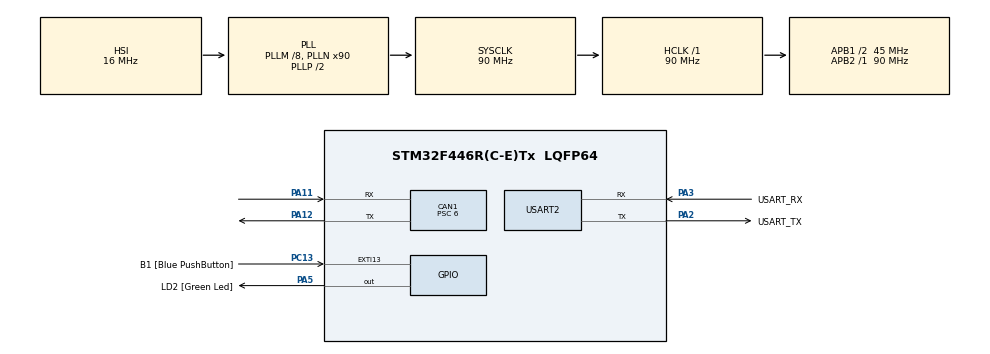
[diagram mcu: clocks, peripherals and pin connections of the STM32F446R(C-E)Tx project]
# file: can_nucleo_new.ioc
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CAN1.BS1=CAN_BS1_11TQ
CAN1.BS2=CAN_BS2_3TQ
CAN1.CalculateBaudRate=500000
CAN1.CalculateTimeBit=1999
CAN1.CalculateTimeQuantum=133.33333333333331
CAN1.Mode=CAN_MODE_NORMAL
CAN1.NART=ENABLE
CAN1.Prescaler=6
Mcu.Family=STM32F4
Mcu.Name=STM32F446R(C-E)Tx
Mcu.Package=LQFP64
NVIC.CAN1_RX0_IRQn=true\:0\:0\:false\:false\:true\:true\:true\:true
NVIC.CAN1_RX1_IRQn=true\:0\:0\:false\:false\:true\:true\:true\:true
NVIC.PriorityGroup=NVIC_PRIORITYGROUP_0
PA11.Mode=CAN_Activate
PA11.Signal=CAN1_RX
PA12.Mode=CAN_Activate
PA12.Signal=CAN1_TX
PA13.GPIO_Label=TMS
PA13.Mode=Serial_Wire
PA13.Signal=SYS_JTMS-SWDIO
PA14.GPIO_Label=TCK
PA14.Mode=Serial_Wire
PA14.Signal=SYS_JTCK-SWCLK
PA2.GPIO_Label=USART_TX
PA2.Mode=Asynchronous
PA2.Signal=USART2_TX
PA3.GPIO_Label=USART_RX
PA3.Mode=Asynchronous
PA3.Signal=USART2_RX
PA5.GPIO_Label=LD2 [Green Led]
PA5.Signal=GPIO_Output
PB3.GPIO_Label=SWO
PB3.Signal=SYS_JTDO-SWO
PC13.GPIO_Label=B1 [Blue PushButton]
PC13.GPIO_ModeDefaultEXTI=GPIO_MODE_IT_FALLING
PC13.Signal=GPXTI13
PC14-OSC32_IN.Mode=LSE-External-Oscillator
PC14-OSC32_IN.Signal=RCC_OSC32_IN
PC15-OSC32_OUT.Mode=LSE-External-Oscillator
PC15-OSC32_OUT.Signal=RCC_OSC32_OUT
PH0-OSC_IN.Mode=HSE-External-Oscillator
PH0-OSC_IN.Signal=RCC_OSC_IN
PH1-OSC_OUT.Mode=HSE-External-Oscillator
PH1-OSC_OUT.Signal=RCC_OSC_OUT
ProjectManager.HeapSize=0x200
ProjectManager.StackSize=0x400
ProjectManager.TargetToolchain=STM32CubeIDE
RCC.48MHZClocksFreq_Value=84000000
RCC.AHBFreq_Value=90000000
RCC.APB1CLKDivider=RCC_HCLK_DIV2
RCC.APB1Freq_Value=45000000
RCC.APB1TimFreq_Value=90000000
RCC.APB2Freq_Value=90000000
RCC.APB2TimFreq_Value=90000000
RCC.CortexFreq_Value=90000000
RCC.FLatency-AdvancedSettings=FLASH_LATENCY_2
RCC.HCLKFreq_Value=90000000
RCC.HSE_VALUE=8000000
RCC.HSI_VALUE=16000000
RCC.PLLM=8
RCC.PLLN=90
RCC.SYSCLKFreq_VALUE=90000000
RCC.SYSCLKSource=RCC_SYSCLKSOURCE_PLLCLK
RCC.USBFreq_Value=90000000
RCC.VCOOutputFreq_Value=180000000
USART2.VirtualMode=VM_ASYNC
board=NUCLEO-F446RE

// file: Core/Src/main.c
/* USER CODE BEGIN Header */
/**
  ******************************************************************************
  * @file           : main.c
  * @brief          : Main program body (Node C - CTRL)
  ******************************************************************************
  * @attention
  *
  * Copyright (c) 2025 STMicroelectronics.
  * All rights reserved.
  *
  * This software is licensed under terms that can be found in the LICENSE file
  * in the root directory of this software component.
  * If no LICENSE file comes with this software, it is provided AS-IS.
  *
  ******************************************************************************
  */
/* USER CODE END Header */
#include "main.h"

/* USER CODE BEGIN Includes */
#include <string.h>
#include <stdbool.h>

#define CMD_TOKEN 0x42   // спільний секретний токен для CMD
#define CMD_VER   0x01
/* USER CODE END Includes */

CAN_HandleTypeDef hcan1;

UART_HandleTypeDef huart2;

/* USER CODE BEGIN PV */
volatile uint8_t g_rx_flag = 0; // 0 = нічого, 1 = CMD (FIFO0), 2 = HB (FIFO1)

// Прапорці для відкладеного ACK
volatile uint8_t g_ack_pending = 0;
volatile uint8_t g_ack_cmd_id = 0;
volatile uint8_t g_ack_seq    = 0;
volatile uint8_t g_ack_result = 0;

CAN_TxHeaderTypeDef C_TxHeader;
CAN_RxHeaderTypeDef C_RxHeader;
uint8_t C_TxData[8];
uint8_t C_RxData[8];
/* USER CODE END PV */

void SystemClock_Config(void);
static void MX_GPIO_Init(void);
static void MX_USART2_UART_Init(void);
static void MX_CAN1_Init(void);
/* USER CODE BEGIN PFP */
static void CAN_ConfigFilters_NodeC(void);
static void C_Send_ACK(uint8_t cmd_id, uint8_t seq, uint8_t result);
uint8_t crc8(const uint8_t *data, uint8_t len);
/* USER CODE END PFP */

/* USER CODE BEGIN 0 */

// CRC8 для CmdID|Arg0|Arg1|Arg2|Token|Seq|Ver
uint8_t crc8(const uint8_t *data, uint8_t len)
{
    uint8_t crc = 0x00;
    const uint8_t poly = 0x07; // x^8 + x^2 + x + 1

    for (uint8_t i = 0; i < len; i++)
    {
        crc ^= data[i];
        for (uint8_t b = 0; b < 8; b++)
        {
            if (crc & 0x80)
                crc = (crc << 1) ^ poly;
            else
                crc <<= 1;
        }
    }
    return crc;
}

// Налаштування фільтрів: 0x040 → FIFO0, 0x081/0x082 → FIFO1
static void CAN_ConfigFilters_NodeC(void)
{
    CAN_FilterTypeDef filter = {0};

    // Bank 0: точний збіг 0x040 (CMD) → FIFO0
    filter.FilterActivation     = CAN_FILTER_ENABLE;
    filter.FilterBank           = 0;
    filter.FilterFIFOAssignment = CAN_RX_FIFO0;
    filter.FilterMode           = CAN_FILTERMODE_IDMASK;
    filter.FilterScale          = CAN_FILTERSCALE_32BIT;
    filter.FilterIdHigh         = (0x040 << 5);
    filter.FilterIdLow          = 0x0000;
    filter.FilterMaskIdHigh     = (0x7FF << 5); // всі 11 біт важливі
    filter.FilterMaskIdLow      = 0x0000;
    filter.SlaveStartFilterBank = 14;
    HAL_CAN_ConfigFilter(&hcan1, &filter);

    // Bank 1: точний збіг 0x081 (HB A) → FIFO1
    filter.FilterBank           = 1;
    filter.FilterFIFOAssignment = CAN_RX_FIFO1;
    filter.FilterIdHigh         = (0x081 << 5);
    filter.FilterIdLow          = 0x0000;
    filter.FilterMaskIdHigh     = (0x7FF << 5);
    filter.FilterMaskIdLow      = 0x0000;
    HAL_CAN_ConfigFilter(&hcan1, &filter);

    // Bank 2: точний збіг 0x082 (HB B) → FIFO1
    filter.FilterBank           = 2;
    filter.FilterFIFOAssignment = CAN_RX_FIFO1;
    filter.FilterIdHigh         = (0x082 << 5);
    filter.FilterIdLow          = 0x0000;
    filter.FilterMaskIdHigh     = (0x7FF << 5);
    filter.FilterMaskIdLow      = 0x0000;
    HAL_CAN_ConfigFilter(&hcan1, &filter);
}

// Відправка ACK/ERR (0x041)
static void C_Send_ACK(uint8_t cmd_id, uint8_t seq, uint8_t result)
{
	uint32_t txMailbox;
	uint32_t freeLevel;

    C_TxHeader.StdId = 0x041;
    C_TxHeader.ExtId = 0;
    C_TxHeader.IDE   = CAN_ID_STD;
    C_TxHeader.RTR   = CAN_RTR_DATA;
    C_TxHeader.DLC   = 8;
    C_TxHeader.TransmitGlobalTime = DISABLE;

    memset(C_TxData, 0, sizeof(C_TxData));
    C_TxData[0] = cmd_id;
    C_TxData[1] = seq;
    C_TxData[2] = result;   // 0=OK, 1=CRC fail, 2=Token fail, 3=Ver fail

    freeLevel = HAL_CAN_GetTxMailboxesFreeLevel(&hcan1);
	if (freeLevel == 0)
	{
		// ERROR: All mailboxes full. This means previous messages weren't ACKed.
		// Optional: Clear mailboxes if stuck (HAL_CAN_AbortTxRequest)
		return; // Keep g_ack_pending = 1 to retry?
	}

	if (HAL_CAN_AddTxMessage(&hcan1, &C_TxHeader, C_TxData, &txMailbox) != HAL_OK)
	{
		// Capture Error Code
		uint32_t error = HAL_CAN_GetError(&hcan1);
	}
}

/**
  * @brief Колбек для FIFO0 (Команди 0x040)
  */
void HAL_CAN_RxFifo0MsgPendingCallback(CAN_HandleTypeDef *hcan)
{
    if (hcan->Instance != CAN1) return;

    if (HAL_CAN_GetRxMessage(hcan, CAN_RX_FIFO0, &C_RxHeader, C_RxData) != HAL_OK)
        return;

    if (C_RxHeader.StdId != 0x040) return;

    uint8_t cmd_id = C_RxData[0];
    uint8_t token  = C_RxData[4];
    uint8_t seq    = C_RxData[5];
    uint8_t crc_rx = C_RxData[6];
    uint8_t ver    = C_RxData[7];

    // перерахунок CRC8 по byte[0..5] + ver (byte7)
    uint8_t tmp[7];
    memcpy(tmp, C_RxData, 6); // CmdID..Seq
    tmp[6] = ver;             // Ver
    uint8_t crc_calc = crc8(tmp, 7);

    uint8_t result;
    if (token != CMD_TOKEN) {
        result = 2;  // Token fail
    } else if (crc_rx != crc_calc) {
        result = 1;  // CRC fail
    } else if (ver != CMD_VER) {
        result = 3;  // Ver fail
    } else {
        result = 0;  // OK
    }

    // Зберігаємо ACK для відправки у main()
    g_ack_cmd_id = cmd_id;
    g_ack_seq    = seq;
    g_ack_result = result;
    g_ack_pending = 1;

    g_rx_flag = 1; // сигнал для LED-патерну (CMD)
}

/**
  * @brief Колбек для FIFO1 (Heartbeats 0x081/0x082)
  */
void HAL_CAN_RxFifo1MsgPendingCallback(CAN_HandleTypeDef *hcan)
{
    if (hcan->Instance != CAN1) return;

    if (HAL_CAN_GetRxMessage(hcan, CAN_RX_FIFO1, &C_RxHeader, C_RxData) != HAL_OK)
        return;

    if (C_RxHeader.StdId == 0x081 || C_RxHeader.StdId == 0x082)
    {
        g_rx_flag = 2; // сигнал для LED (HB)
    }
}

/* USER CODE END 0 */

int main(void)
{

  HAL_Init();
  SystemClock_Config();

  MX_GPIO_Init();
  MX_USART2_UART_Init();
  MX_CAN1_Init();

  /* USER CODE BEGIN 2 */

  // Налаштовуємо фільтри ноди C
  CAN_ConfigFilters_NodeC();

  // Стартуємо CAN
  if (HAL_CAN_Start(&hcan1) != HAL_OK)
  {
      Error_Handler();
  }

  // Вмикаємо IRQ по FIFO0/FIFO1
  HAL_CAN_ActivateNotification(&hcan1,
      CAN_IT_RX_FIFO0_MSG_PENDING |
      CAN_IT_RX_FIFO1_MSG_PENDING);

  /* USER CODE END 2 */

  while (1)
  {
    /* USER CODE BEGIN 3 */

    // 1) Якщо є ACK — спочатку його шлемо
    if (g_ack_pending)
    {
        C_Send_ACK(g_ack_cmd_id, g_ack_seq, g_ack_result);
        g_ack_pending = 0;
    }

    // 2) Потім – LED-патерни
    if (g_rx_flag == 1) // Отримали команду 0x040 (FIFO0)
    {
        // Тут залишила твій "довгий" блим-патерн :)
        for (int i = 0; i < 8; i++)
        {
            HAL_GPIO_WritePin(LD2_GPIO_Port, LD2_Pin, GPIO_PIN_SET);
            HAL_Delay(50);
            HAL_GPIO_WritePin(LD2_GPIO_Port, LD2_Pin, GPIO_PIN_RESET);
            HAL_Delay(50);
        }
        g_rx_flag = 0;
    }
    else if (g_rx_flag == 2) // Отримали HB у FIFO1 (0x081/0x082)
    {
        HAL_GPIO_TogglePin(LD2_GPIO_Port, LD2_Pin);
        g_rx_flag = 0;
    }

    // можна додати ще якийсь watchdog/diag тут, якщо треба

    /* USER CODE END 3 */
  }
}

void SystemClock_Config(void)
{
  RCC_OscInitTypeDef RCC_OscInitStruct = {0};
  RCC_ClkInitTypeDef RCC_ClkInitStruct = {0};

  __HAL_RCC_PWR_CLK_ENABLE();
  __HAL_PWR_VOLTAGESCALING_CONFIG(PWR_REGULATOR_VOLTAGE_SCALE3);

  RCC_OscInitStruct.OscillatorType = RCC_OSCILLATORTYPE_HSI;
  RCC_OscInitStruct.HSIState = RCC_HSI_ON;
  RCC_OscInitStruct.HSICalibrationValue = RCC_HSICALIBRATION_DEFAULT;
  RCC_OscInitStruct.PLL.PLLState = RCC_PLL_ON;
  RCC_OscInitStruct.PLL.PLLSource = RCC_PLLSOURCE_HSI;
  RCC_OscInitStruct.PLL.PLLM = 8;
  RCC_OscInitStruct.PLL.PLLN = 90;
  RCC_OscInitStruct.PLL.PLLP = RCC_PLLP_DIV2;
  RCC_OscInitStruct.PLL.PLLQ = 2;
  RCC_OscInitStruct.PLL.PLLR = 2;
  if (HAL_RCC_OscConfig(&RCC_OscInitStruct) != HAL_OK)
  {
    Error_Handler();
  }

  RCC_ClkInitStruct.ClockType = RCC_CLOCKTYPE_HCLK|RCC_CLOCKTYPE_SYSCLK
                              |RCC_CLOCKTYPE_PCLK1|RCC_CLOCKTYPE_PCLK2;
  RCC_ClkInitStruct.SYSCLKSource = RCC_SYSCLKSOURCE_PLLCLK;
  RCC_ClkInitStruct.AHBCLKDivider = RCC_SYSCLK_DIV1;
  RCC_ClkInitStruct.APB1CLKDivider = RCC_HCLK_DIV2;
  RCC_ClkInitStruct.APB2CLKDivider = RCC_HCLK_DIV1;

  if (HAL_RCC_ClockConfig(&RCC_ClkInitStruct, FLASH_LATENCY_2) != HAL_OK)
  {
    Error_Handler();
  }
}

static void MX_CAN1_Init(void)
{
  hcan1.Instance = CAN1;
  hcan1.Init.Prescaler = 6;
  hcan1.Init.Mode = CAN_MODE_NORMAL;
  hcan1.Init.SyncJumpWidth = CAN_SJW_1TQ;
  hcan1.Init.TimeSeg1 = CAN_BS1_11TQ;
  hcan1.Init.TimeSeg2 = CAN_BS2_3TQ;
  hcan1.Init.TimeTriggeredMode = DISABLE;
  hcan1.Init.AutoBusOff = DISABLE;
  hcan1.Init.AutoWakeUp = DISABLE;
  hcan1.Init.AutoRetransmission = ENABLE;  // можна тимчасово DISABLE для дебага
  hcan1.Init.ReceiveFifoLocked = DISABLE;
  hcan1.Init.TransmitFifoPriority = DISABLE;
  if (HAL_CAN_Init(&hcan1) != HAL_OK)
  {
    Error_Handler();
  }

  /* USER CODE BEGIN CAN1_Init 2 */
  // Фільтри налаштовуємо окремо в CAN_ConfigFilters_NodeC()
  /* USER CODE END CAN1_Init 2 */
}

static void MX_USART2_UART_Init(void)
{
  huart2.Instance = USART2;
  huart2.Init.BaudRate = 115200;
  huart2.Init.WordLength = UART_WORDLENGTH_8B;
  huart2.Init.StopBits = UART_STOPBITS_1;
  huart2.Init.Parity = UART_PARITY_NONE;
  huart2.Init.Mode = UART_MODE_TX_RX;
  huart2.Init.HwFlowCtl = UART_HWCONTROL_NONE;
//  huart2.Init.OverSampling = USART_OVERSAMPLING_16;
  if (HAL_UART_Init(&huart2) != HAL_OK)
  {
    Error_Handler();
  }
}

static void MX_GPIO_Init(void)
{
  GPIO_InitTypeDef GPIO_InitStruct = {0};

  __HAL_RCC_GPIOC_CLK_ENABLE();
  __HAL_RCC_GPIOH_CLK_ENABLE();
  __HAL_RCC_GPIOA_CLK_ENABLE();
  __HAL_RCC_GPIOB_CLK_ENABLE();

  HAL_GPIO_WritePin(LD2_GPIO_Port, LD2_Pin, GPIO_PIN_RESET);

  GPIO_InitStruct.Pin = B1_Pin;
  GPIO_InitStruct.Mode = GPIO_MODE_IT_FALLING;
  GPIO_InitStruct.Pull = GPIO_NOPULL;
  HAL_GPIO_Init(B1_GPIO_Port, &GPIO_InitStruct);

  GPIO_InitStruct.Pin = LD2_Pin;
  GPIO_InitStruct.Mode = GPIO_MODE_OUTPUT_PP;
  GPIO_InitStruct.Pull = GPIO_NOPULL;
  GPIO_InitStruct.Speed = GPIO_SPEED_FREQ_LOW;
  HAL_GPIO_Init(LD2_GPIO_Port, &GPIO_InitStruct);
}

void Error_Handler(void)
{
  __disable_irq();
  while (1)
  {
  }
}
